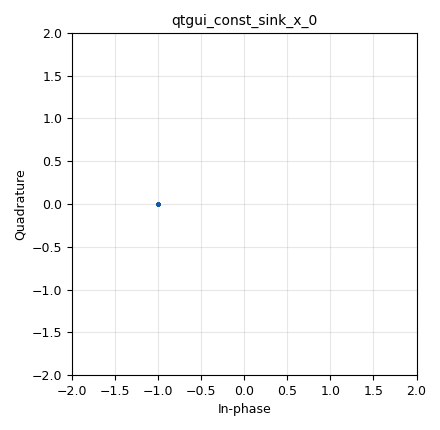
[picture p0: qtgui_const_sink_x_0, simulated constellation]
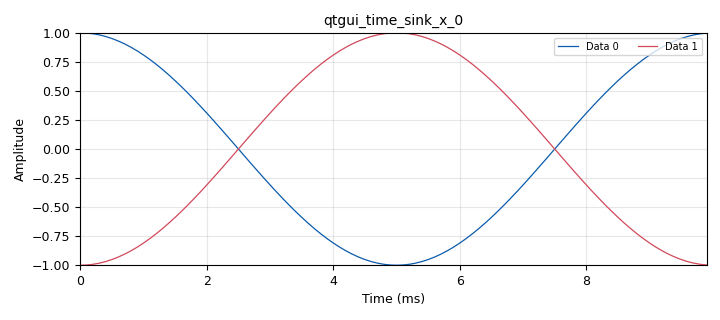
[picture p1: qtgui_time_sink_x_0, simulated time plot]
<?xml version='1.0' encoding='utf-8'?>
<?grc format='1' created='3.7.10'?>
<flow_graph>
<block>
<key>options</key>
<param><key>id</key><value>path_length_diff_sim</value></param>
<param><key>author</key><value>Spiro Sarris</value></param>
<param><key>description</key><value>Phase and Path Length Difference of Two Receiver Channels</value></param>
<param><key>generate_options</key><value>qt_gui</value></param>
<param><key>title</key><value>Path Length Difference</value></param>
</block>
<block>
<key>variable</key>
<param><key>id</key><value>samp_rate</value></param>
<param><key>value</key><value>10e3</value></param>
</block>
<block>
<key>variable</key>
<param><key>id</key><value>speed_of_light</value></param>
<param><key>_enabled</key><value>0</value></param>
<param><key>value</key><value>299792458</value></param>
</block>
<block>
<key>variable</key>
<param><key>id</key><value>speed_of_light</value></param>
<param><key>value</key><value>100</value></param>
</block>
<block>
<key>variable</key>
<param><key>id</key><value>velocity_factor</value></param>
<param><key>value</key><value>1</value></param>
</block>
<block>
<key>variable</key>
<param><key>id</key><value>wave_number</value></param>
<param><key>value</key><value>np.pi/wavelength</value></param>
</block>
<block>
<key>variable</key>
<param><key>id</key><value>wavelength</value></param>
<param><key>value</key><value>speed_of_light/wf_freq</value></param>
</block>
<block>
<key>variable</key>
<param><key>id</key><value>wf_freq</value></param>
<param><key>value</key><value>100</value></param>
</block>
<block>
<key>analog_const_source_x</key>
<param><key>id</key><value>analog_const_source_x_0</value></param>
<param><key>const</key><value>wave_number</value></param>
<param><key>type</key><value>float</value></param>
</block>
<block>
<key>analog_sig_source_x</key>
<param><key>id</key><value>analog_sig_source_x_0</value></param>
<param><key>amp</key><value>1</value></param>
<param><key>freq</key><value>wf_freq</value></param>
<param><key>offset</key><value>0</value></param>
<param><key>type</key><value>complex</value></param>
<param><key>samp_rate</key><value>samp_rate</value></param>
<param><key>waveform</key><value>analog.GR_COS_WAVE</value></param>
</block>
<block>
<key>blocks_complex_to_arg</key>
<param><key>id</key><value>blocks_complex_to_arg_0</value></param>
</block>
<block>
<key>blocks_complex_to_real</key>
<param><key>id</key><value>blocks_complex_to_real_0</value></param>
</block>
<block>
<key>blocks_complex_to_real</key>
<param><key>id</key><value>blocks_complex_to_real_0_0</value></param>
</block>
<block>
<key>blocks_delay</key>
<param><key>id</key><value>blocks_delay_0</value></param>
<param><key>delay</key><value>int(samp_rate/wf_freq/2)</value></param>
<param><key>type</key><value>complex</value></param>
</block>
<block>
<key>blocks_divide_xx</key>
<param><key>id</key><value>blocks_divide_xx_0</value></param>
<param><key>type</key><value>float</value></param>
</block>
<block>
<key>blocks_divide_xx</key>
<param><key>id</key><value>blocks_divide_xx_1</value></param>
<param><key>type</key><value>complex</value></param>
</block>
<block>
<key>blocks_throttle</key>
<param><key>id</key><value>blocks_throttle_0</value></param>
<param><key>samples_per_second</key><value>samp_rate</value></param>
<param><key>type</key><value>complex</value></param>
</block>
<block>
<key>qtgui_tab_widget</key>
<param><key>id</key><value>display</value></param>
<param><key>gui_hint</key><value>0,0,1,4</value></param>
<param><key>label0</key><value>Time</value></param>
<param><key>label1</key><value>Amplitude</value></param>
<param><key>label2</key><value>Phase</value></param>
<param><key>num_tabs</key><value>3</value></param>
</block>
<block>
<key>import</key>
<param><key>id</key><value>import_0</value></param>
<param><key>import</key><value>import numpy as np</value></param>
</block>
<block>
<key>qtgui_const_sink_x</key>
<param><key>id</key><value>qtgui_const_sink_x_0</value></param>
<param><key>gui_hint</key><value>display@2:0,0,1,4</value></param>
<param><key>grid</key><value>True</value></param>
<param><key>size</key><value>1024</value></param>
<param><key>type</key><value>complex</value></param>
</block>
<block>
<key>qtgui_number_sink</key>
<param><key>id</key><value>qtgui_number_sink_0</value></param>
<param><key>graph_type</key><value>qtgui.NUM_GRAPH_NONE</value></param>
<param><key>type</key><value>float</value></param>
<param><key>name</key><value>"Phase Difference (rad)"</value></param>
<param><key>update_time</key><value>0.2</value></param>
</block>
<block>
<key>qtgui_number_sink</key>
<param><key>id</key><value>qtgui_number_sink_1</value></param>
<param><key>graph_type</key><value>qtgui.NUM_GRAPH_NONE</value></param>
<param><key>type</key><value>float</value></param>
<param><key>name</key><value>"Length Difference (m)"</value></param>
</block>
<block>
<key>qtgui_time_sink_x</key>
<param><key>id</key><value>qtgui_time_sink_x_0</value></param>
<param><key>gui_hint</key><value>display@0:0,0,1,4</value></param>
<param><key>grid</key><value>True</value></param>
<param><key>color1</key><value>"blue"</value></param>
<param><key>label1</key><value></value></param>
<param><key>color2</key><value>"red"</value></param>
<param><key>label2</key><value></value></param>
<param><key>nconnections</key><value>2</value></param>
<param><key>size</key><value>int(samp_rate/wf_freq)</value></param>
<param><key>srate</key><value>samp_rate</value></param>
<param><key>type</key><value>float</value></param>
</block>
<connection><source_block_id>analog_const_source_x_0</source_block_id><sink_block_id>blocks_divide_xx_0</sink_block_id><source_key>0</source_key><sink_key>1</sink_key></connection>
<connection><source_block_id>analog_sig_source_x_0</source_block_id><sink_block_id>blocks_throttle_0</sink_block_id><source_key>0</source_key><sink_key>0</sink_key></connection>
<connection><source_block_id>blocks_complex_to_arg_0</source_block_id><sink_block_id>blocks_divide_xx_0</sink_block_id><source_key>0</source_key><sink_key>0</sink_key></connection>
<connection><source_block_id>blocks_complex_to_arg_0</source_block_id><sink_block_id>qtgui_number_sink_0</sink_block_id><source_key>0</source_key><sink_key>0</sink_key></connection>
<connection><source_block_id>blocks_complex_to_real_0</source_block_id><sink_block_id>qtgui_time_sink_x_0</sink_block_id><source_key>0</source_key><sink_key>1</sink_key></connection>
<connection><source_block_id>blocks_complex_to_real_0_0</source_block_id><sink_block_id>qtgui_time_sink_x_0</sink_block_id><source_key>0</source_key><sink_key>0</sink_key></connection>
<connection><source_block_id>blocks_delay_0</source_block_id><sink_block_id>blocks_complex_to_real_0</sink_block_id><source_key>0</source_key><sink_key>0</sink_key></connection>
<connection><source_block_id>blocks_delay_0</source_block_id><sink_block_id>blocks_divide_xx_1</sink_block_id><source_key>0</source_key><sink_key>1</sink_key></connection>
<connection><source_block_id>blocks_divide_xx_0</source_block_id><sink_block_id>qtgui_number_sink_1</sink_block_id><source_key>0</source_key><sink_key>0</sink_key></connection>
<connection><source_block_id>blocks_divide_xx_1</source_block_id><sink_block_id>blocks_complex_to_arg_0</sink_block_id><source_key>0</source_key><sink_key>0</sink_key></connection>
<connection><source_block_id>blocks_divide_xx_1</source_block_id><sink_block_id>qtgui_const_sink_x_0</sink_block_id><source_key>0</source_key><sink_key>0</sink_key></connection>
<connection><source_block_id>blocks_throttle_0</source_block_id><sink_block_id>blocks_complex_to_real_0_0</sink_block_id><source_key>0</source_key><sink_key>0</sink_key></connection>
<connection><source_block_id>blocks_throttle_0</source_block_id><sink_block_id>blocks_delay_0</sink_block_id><source_key>0</source_key><sink_key>0</sink_key></connection>
<connection><source_block_id>blocks_throttle_0</source_block_id><sink_block_id>blocks_divide_xx_1</sink_block_id><source_key>0</source_key><sink_key>0</sink_key></connection>
</flow_graph>
